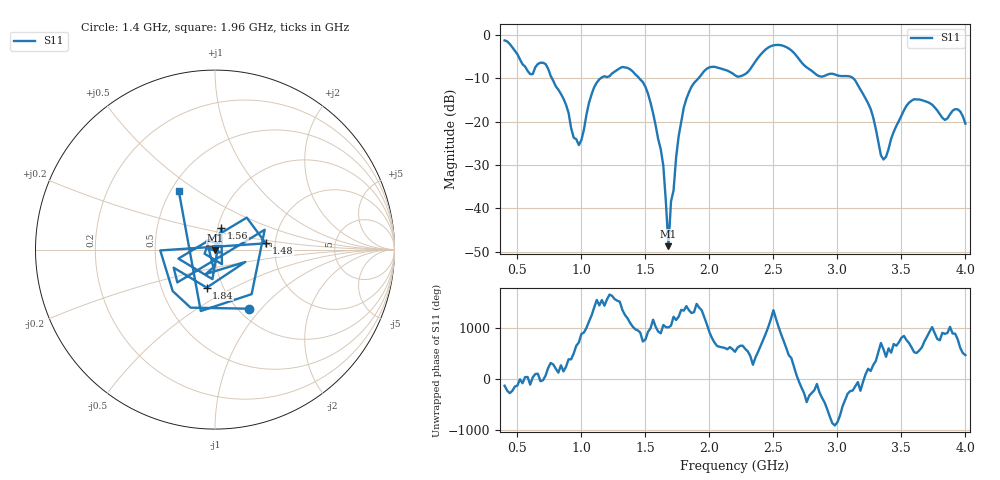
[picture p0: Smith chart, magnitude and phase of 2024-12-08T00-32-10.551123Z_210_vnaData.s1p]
!Created with skrf (http://scikit-rf.org).
# Hz S RI R 50.0
!freq ReS11 ImS11
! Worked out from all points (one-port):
!   181 points, 400 MHz to 4 GHz, reference 50 ohm
!   lowest |S11| = -48.8 dB at 1.68 GHz (marker M1), VSWR 1.01, Z = 50.1 - j0.359 ohm
!   |S11| at or under -10 dB: 769.2 MHz to 1.152 GHz (382.8 MHz wide, 39.9 % of centre); 1.451 GHz to 1.916 GHz (464.8 MHz wide, 27.6 % of centre); 3.123 GHz to end of sweep
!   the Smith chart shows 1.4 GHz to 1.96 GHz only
!   S11 on the Smith chart (normalised r, x): 1.4 GHz: 1.12, -0.86; 1.48 GHz: 1.78, +0.14; 1.56 GHz: 1.04, +0.25; 1.84 GHz: 0.84, -0.37; 1.96 GHz: 0.55, +0.42
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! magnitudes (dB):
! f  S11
! 400 MHz  -1.3
! 600 MHz  -9.1
! 720 MHz  -6.7
! 860 MHz  -14.7
! 980 MHz  -25.4
! 1.1 GHz  -12.1
! 1.3 GHz  -7.7
! 1.4 GHz  -8.4
! 1.48 GHz  -10.9
! 1.56 GHz  -18.1
! 1.64 GHz  -30.2
! 1.68 GHz  -48.8
! 1.7 GHz  -38.4
! 1.72 GHz  -35.9
! 1.76 GHz  -23.4
! 1.84 GHz  -13.3
! 1.96 GHz  -8.3
! 2.2 GHz  -9.3
! 2.48 GHz  -2.6
! 2.66 GHz  -4.1
! 2.86 GHz  -9.6
! 3.1 GHz  -9.6
! 3.26 GHz  -17.1
! 3.36 GHz  -28.8
! 3.56 GHz  -15.7
! 3.84 GHz  -19.6
! 3.94 GHz  -17.2
! 4 GHz  -20.5
